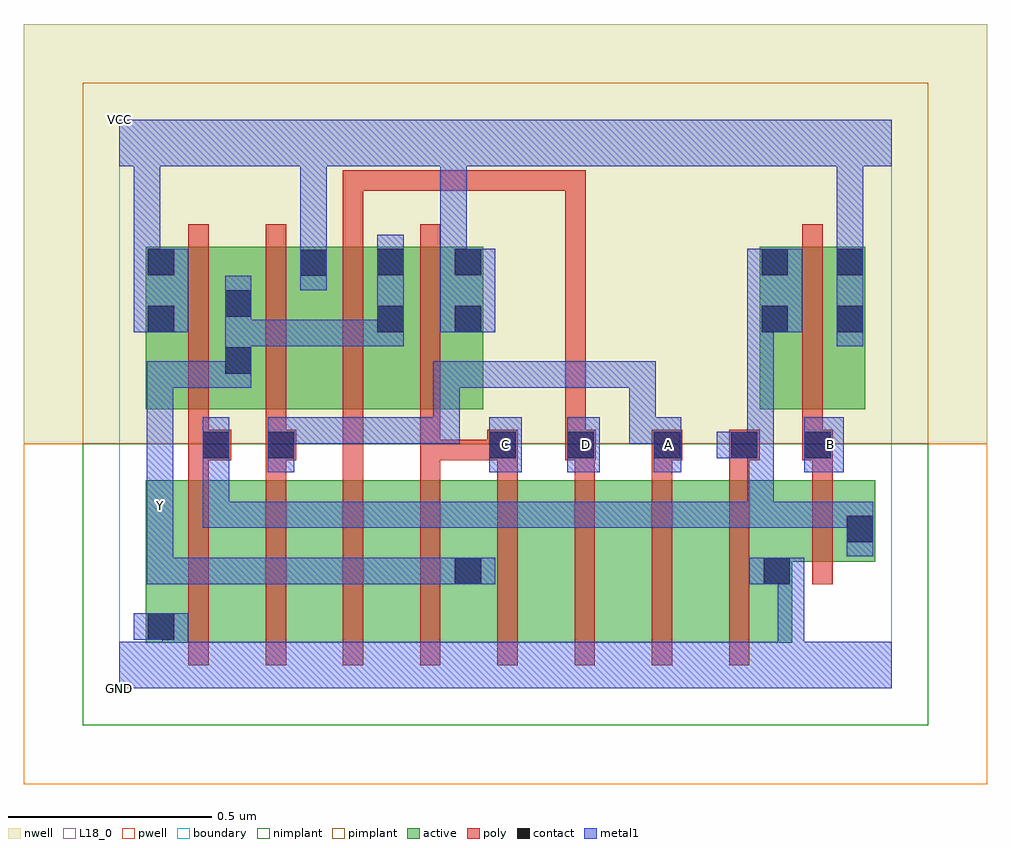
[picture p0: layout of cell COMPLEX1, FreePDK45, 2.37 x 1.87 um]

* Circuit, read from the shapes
.subckt COMPLEX1 A B C D GND VCC Y
M1 n1 n2 GND VSUBS nfet w=0.4u l=0.05u
M2 n3 A n1 VSUBS nfet w=0.4u l=0.05u
M3 n4 D n3 VSUBS nfet w=0.4u l=0.05u
M4 Y C n4 VSUBS nfet w=0.4u l=0.05u
M5 n5 C Y VSUBS nfet w=0.4u l=0.05u
M6 n6 D n5 VSUBS nfet w=0.4u l=0.05u
M7 n7 A n6 VSUBS nfet w=0.4u l=0.05u
M8 GND n2 n7 VSUBS nfet w=0.4u l=0.05u
M9 n2 B GND VSUBS nfet w=0.2u l=0.05u
M10 Y n2 VCC n8 pfet w=0.4u l=0.05u
M11 VCC A Y n8 pfet w=0.4u l=0.05u
M12 Y D VCC n8 pfet w=0.4u l=0.05u
M13 VCC C Y n8 pfet w=0.4u l=0.05u
M14 VCC B n2 n8 pfet w=0.4u l=0.05u
.ends

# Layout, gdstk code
import gdstk
lib = gdstk.Library(unit=1e-6, precision=1e-09)
def R(c, l, rs):  # rectangles x0, y0, x1, y1
    for r in rs: c.add(gdstk.rectangle(r[:2], r[2:], *l))
def A(c, l, x, y, w, h, nx, ny, dx, dy):  # array of equal rectangles
    R(c, l, [(x+i*dx, y+j*dy, x+i*dx+w, y+j*dy+h) for i in range(nx) for j in range(ny)])
active = (1, 0)
pwell = (2, 0)
nwell = (3, 0)
nimplant = (4, 0)
pimplant = (5, 0)
poly = (9, 0)
contact = (10, 0)
metal1 = (11, 0)
L18_0 = (18, 0)
boundary = (235, 0)

complex1 = lib.new_cell('COMPLEX1')
R(complex1, active, [(0.065,0.112,0.14,0.512), (0.065,0.112,0.29,0.512), (0.29,0.112,0.48,0.512), (0.48,0.112,0.67,0.512), (0.67,0.112,0.895,0.512), (0.82,0.112,1.05,0.512), (1.05,0.112,1.24,0.512), (1.24,0.112,1.43,0.512), (1.43,0.112,1.655,0.512), (1.58,0.112,1.655,0.512), (0.82,0.147,0.895,0.492), (1.58,0.312,1.86,0.512), (1.785,0.347,1.86,0.512), (0.065,0.687,0.14,1.087), (0.065,0.687,0.33,1.087), (0.255,0.687,0.515,1.087), (0.44,0.687,0.705,1.087), (0.63,0.687,0.895,1.087), (1.575,0.687,1.65,1.087), (1.575,0.687,1.835,1.087), (1.76,0.687,1.835,1.087), (0.255,0.707,0.33,1.087), (0.82,0.782,0.895,1.087), (0.44,0.802,0.515,1.085), (0.63,0.862,0.705,1.087)])
R(complex1, pwell, [(-0.235,-0.235,2.135,0.602)])
R(complex1, nwell, [(-0.235,0.602,2.135,1.635)])
R(complex1, nimplant, [(-0.09,-0.09,1.99,0.602)])
R(complex1, pimplant, [(-0.09,0.602,1.99,1.49)])
A(complex1, poly, 0.17, 0.057, 0.05, 0.51, 8, 1, 0.19, 0)
A(complex1, poly, 0.17, 0.517, 0.05, 0.095, 8, 1, 0.19, 0)
A(complex1, poly, 0.17, 0.632, 0.05, 0.51, 4, 1, 0.19, 0)
R(complex1, poly, [(1.705,0.257,1.755,0.567), (1.705,0.517,1.755,0.612), (0.17,0.562,0.275,0.637), (0.36,0.562,0.435,0.637), (0.55,0.562,0.6,0.612), (0.55,0.562,0.6,0.682), (0.74,0.562,0.79,0.612), (0.74,0.562,0.955,0.612), (0.74,0.562,0.79,0.682), (0.905,0.562,0.98,0.637), (0.905,0.562,0.955,0.612), (0.905,0.562,0.955,0.612), (1.097,0.562,1.172,0.637), (1.31,0.562,1.385,0.637), (1.5,0.562,1.575,0.637), (1.68,0.562,1.755,0.637), (0.17,0.587,0.22,0.682), (0.36,0.587,0.41,0.682), (1.097,0.587,1.147,1.275), (1.097,0.587,1.147,0.637), (1.097,0.587,1.147,0.637), (1.68,0.587,1.73,0.682), (1.68,0.632,1.73,1.142), (0.55,1.092,0.6,1.275), (0.55,1.225,0.6,1.275), (0.55,1.225,0.6,1.275), (0.55,1.225,0.6,1.275), (0.55,1.225,0.822,1.275), (0.772,1.225,0.822,1.275), (0.772,1.225,0.822,1.275), (0.772,1.225,0.822,1.275), (0.772,1.225,1.015,1.275), (0.965,1.225,1.015,1.275), (0.965,1.225,1.015,1.275), (0.965,1.225,1.015,1.275), (0.965,1.225,1.147,1.275), (1.097,1.225,1.147,1.275), (1.097,1.225,1.147,1.275), (1.097,1.225,1.147,1.275), (1.097,1.225,1.147,1.275), (1.097,1.225,1.147,1.275), (1.097,1.225,1.147,1.275), (1.097,1.225,1.147,1.275)])
R(complex1, contact, [(0.07,0.12,0.135,0.185), (0.825,0.257,0.89,0.322), (1.585,0.257,1.65,0.322), (1.79,0.36,1.855,0.425), (0.205,0.567,0.27,0.632), (0.365,0.567,0.43,0.632), (0.91,0.567,0.975,0.632), (1.102,0.567,1.167,0.632), (1.315,0.567,1.38,0.632), (1.505,0.567,1.57,0.632), (1.685,0.567,1.75,0.632), (0.26,0.775,0.325,0.84), (0.07,0.877,0.135,0.942), (0.635,0.877,0.7,0.942), (0.825,0.877,0.89,0.942), (1.58,0.877,1.645,0.942), (1.765,0.877,1.83,0.942), (0.26,0.915,0.325,0.98), (0.445,1.015,0.51,1.08), (0.07,1.017,0.135,1.082), (0.635,1.017,0.7,1.082), (0.825,1.017,0.89,1.082), (1.58,1.017,1.645,1.082), (1.765,1.017,1.83,1.082)])
A(complex1, metal1, 0.035, 0.877, 0.135, 0.205, 3, 1, 0.755, 0)
R(complex1, metal1, [(0,0,1.9,0.115), (0.105,0.05,0.17,0.185), (1.62,0.05,1.685,0.322), (0.035,0.12,0.17,0.185), (0.067,0.257,0.132,0.322), (0.067,0.257,0.132,0.322), (0.067,0.257,0.132,0.322), (0.067,0.257,0.132,0.322), (0.067,0.257,0.132,0.322), (0.067,0.257,0.325,0.322), (0.067,0.257,0.132,0.447), (0.26,0.257,0.325,0.322), (0.26,0.257,0.562,0.322), (0.497,0.257,0.562,0.322), (0.497,0.257,0.562,0.322), (0.497,0.257,0.562,0.322), (0.497,0.257,0.7,0.322), (0.635,0.257,0.7,0.322), (0.635,0.257,0.7,0.322), (0.635,0.257,0.7,0.322), (0.635,0.257,0.837,0.322), (0.772,0.257,0.837,0.322), (0.772,0.257,0.855,0.322), (0.79,0.257,0.925,0.322), (1.55,0.257,1.685,0.322), (1.79,0.325,1.855,0.46), (0.067,0.382,0.132,0.517), (0.205,0.395,0.27,0.46), (0.205,0.395,0.462,0.46), (0.205,0.395,0.27,0.597), (0.397,0.395,0.462,0.46), (0.397,0.395,0.462,0.46), (0.397,0.395,0.462,0.46), (0.397,0.395,0.7,0.46), (0.635,0.395,0.7,0.46), (0.635,0.395,0.7,0.46), (0.635,0.395,0.7,0.46), (0.635,0.395,0.837,0.46), (0.772,0.395,0.837,0.46), (0.772,0.395,0.837,0.46), (0.772,0.395,0.837,0.46), (0.772,0.395,0.975,0.46), (0.91,0.395,0.975,0.46), (0.91,0.395,0.975,0.46), (0.91,0.395,0.975,0.46), (0.91,0.395,1.127,0.46), (1.062,0.395,1.127,0.46), (1.062,0.395,1.127,0.46), (1.062,0.395,1.127,0.46), (1.062,0.395,1.32,0.46), (1.255,0.395,1.32,0.46), (1.255,0.395,1.472,0.46), (1.407,0.395,1.472,0.46), (1.407,0.395,1.61,0.46), (1.545,0.395,1.61,0.46), (1.545,0.395,1.61,0.46), (1.545,0.395,1.61,0.46), (1.545,0.395,1.855,0.46), (1.545,0.395,1.61,0.632), (1.79,0.395,1.855,0.46), (1.79,0.395,1.855,0.46), (0.067,0.452,0.132,0.805), (0.205,0.532,0.27,0.597), (0.205,0.532,0.27,0.597), (0.205,0.532,0.27,0.667), (0.365,0.532,0.43,0.667), (0.91,0.532,0.99,0.667), (1.102,0.532,1.182,0.667), (1.315,0.532,1.382,0.667), (1.685,0.532,1.782,0.667), (1.47,0.567,1.605,0.632), (1.54,0.567,1.61,0.632), (1.545,0.567,1.61,0.632), (1.545,0.567,1.61,0.942), (0.365,0.602,0.462,0.667), (0.397,0.602,0.462,0.667), (0.397,0.602,0.7,0.667), (0.635,0.602,0.7,0.667), (0.635,0.602,0.7,0.667), (0.635,0.602,0.7,0.667), (0.635,0.602,0.837,0.667), (0.772,0.602,0.837,0.667), (0.772,0.602,0.837,0.667), (0.772,0.602,0.837,0.667), (0.772,0.602,0.837,0.805), (1.255,0.602,1.32,0.667), (1.255,0.602,1.38,0.667), (1.255,0.602,1.32,0.805), (0.067,0.74,0.132,0.805), (0.067,0.74,0.132,0.805), (0.067,0.74,0.132,0.805), (0.067,0.74,0.325,0.805), (0.26,0.74,0.325,1.015), (0.772,0.74,0.837,0.805), (0.772,0.74,0.99,0.805), (0.925,0.74,0.99,0.805), (0.925,0.74,0.99,0.805), (0.925,0.74,0.99,0.805), (0.925,0.74,1.127,0.805), (1.062,0.74,1.127,0.805), (1.062,0.74,1.32,0.805), (1.255,0.74,1.32,0.805), (0.26,0.842,0.562,0.907), (0.497,0.842,0.562,0.907), (0.497,0.842,0.562,0.907), (0.497,0.842,0.562,0.907), (0.497,0.842,0.7,0.907), (0.635,0.842,0.7,0.907), (0.635,0.842,0.7,0.907), (0.635,0.842,0.7,1.117), (1.765,0.842,1.83,1.117), (0.445,0.98,0.51,1.115), (0.035,1.017,0.1,1.082), (0.035,1.017,0.1,1.082), (0.035,1.017,0.1,1.35), (0.79,1.017,0.855,1.082), (0.79,1.017,0.855,1.082), (0.79,1.017,0.855,1.35), (0.445,1.05,0.51,1.115), (0.445,1.05,0.51,1.115), (0.445,1.05,0.51,1.35), (1.765,1.052,1.83,1.117), (1.765,1.052,1.83,1.117), (1.765,1.052,1.83,1.35), (0,1.285,1.9,1.4)])
A(complex1, L18_0, 0.917, 0.567, 0.065, 0.065, 3, 1, 0.2, 0)
R(complex1, L18_0, [(0,0,1.9,0.115), (0.105,0.05,0.17,0.185), (1.62,0.05,1.685,0.322), (0.035,0.12,0.17,0.185), (0.067,0.257,0.132,0.322), (0.067,0.257,0.132,0.322), (0.067,0.257,0.132,0.322), (0.067,0.257,0.132,0.322), (0.067,0.257,0.132,0.322), (0.067,0.257,0.132,0.447), (0.067,0.257,0.325,0.322), (0.26,0.257,0.325,0.322), (0.26,0.257,0.562,0.322), (0.497,0.257,0.562,0.322), (0.497,0.257,0.562,0.322), (0.497,0.257,0.562,0.322), (0.497,0.257,0.7,0.322), (0.635,0.257,0.7,0.322), (0.635,0.257,0.7,0.322), (0.635,0.257,0.7,0.322), (0.635,0.257,0.837,0.322), (0.772,0.257,0.837,0.322), (0.772,0.257,0.855,0.322), (0.79,0.257,0.925,0.322), (1.55,0.257,1.685,0.322), (0.067,0.382,0.132,0.517), (0.067,0.417,0.132,0.482), (0.067,0.452,0.132,0.805), (0.365,0.532,0.43,0.667), (0.91,0.532,0.99,0.667), (1.102,0.532,1.182,0.667), (1.315,0.532,1.382,0.667), (1.685,0.532,1.782,0.667), (1.717,0.567,1.782,0.632), (0.365,0.602,0.462,0.667), (0.397,0.602,0.462,0.667), (0.397,0.602,0.7,0.667), (0.635,0.602,0.7,0.667), (0.635,0.602,0.7,0.667), (0.635,0.602,0.7,0.667), (0.635,0.602,0.837,0.667), (0.772,0.602,0.837,0.667), (0.772,0.602,0.837,0.667), (0.772,0.602,0.837,0.667), (0.772,0.602,0.837,0.805), (1.255,0.602,1.32,0.667), (1.255,0.602,1.32,0.805), (1.255,0.602,1.38,0.667), (0.067,0.74,0.132,0.805), (0.067,0.74,0.132,0.805), (0.067,0.74,0.132,0.805), (0.067,0.74,0.325,0.805), (0.26,0.74,0.325,1.015), (0.772,0.74,0.837,0.805), (0.772,0.74,0.99,0.805), (0.925,0.74,0.99,0.805), (0.925,0.74,0.99,0.805), (0.925,0.74,0.99,0.805), (0.925,0.74,1.127,0.805), (1.062,0.74,1.127,0.805), (1.062,0.74,1.32,0.805), (1.255,0.74,1.32,0.805), (0.26,0.842,0.562,0.907), (0.497,0.842,0.562,0.907), (0.497,0.842,0.562,0.907), (0.497,0.842,0.562,0.907), (0.497,0.842,0.7,0.907), (0.635,0.842,0.7,0.907), (0.635,0.842,0.7,0.907), (0.635,0.842,0.7,1.117), (1.765,0.842,1.83,1.117), (0.035,0.877,0.17,1.082), (0.79,0.877,0.925,1.082), (0.445,0.98,0.51,1.115), (0.035,1.017,0.1,1.082), (0.035,1.017,0.1,1.082), (0.035,1.017,0.1,1.35), (0.79,1.017,0.855,1.082), (0.79,1.017,0.855,1.082), (0.79,1.017,0.855,1.35), (0.445,1.05,0.51,1.115), (0.445,1.05,0.51,1.115), (0.445,1.05,0.51,1.35), (1.765,1.052,1.83,1.117), (1.765,1.052,1.83,1.117), (1.765,1.052,1.83,1.35), (0,1.285,1.9,1.4)])
R(complex1, boundary, [(0,0,1.9,1.4)])
complex1.add(gdstk.Label('A', (1.35,0.6), layer=11, texttype=0))
complex1.add(gdstk.Label('B', (1.75,0.6), layer=11, texttype=0))
complex1.add(gdstk.Label('C', (0.95,0.6), layer=11, texttype=0))
complex1.add(gdstk.Label('D', (1.15,0.6), layer=11, texttype=0))
complex1.add(gdstk.Label('Y', (0.1,0.45), layer=11, texttype=0))
complex1.add(gdstk.Label('VCC', (0,1.4), layer=11, texttype=0))
complex1.add(gdstk.Label('GND', (0,0), layer=11, texttype=0))

lib.write_gds('COMPLEX1.gds')
